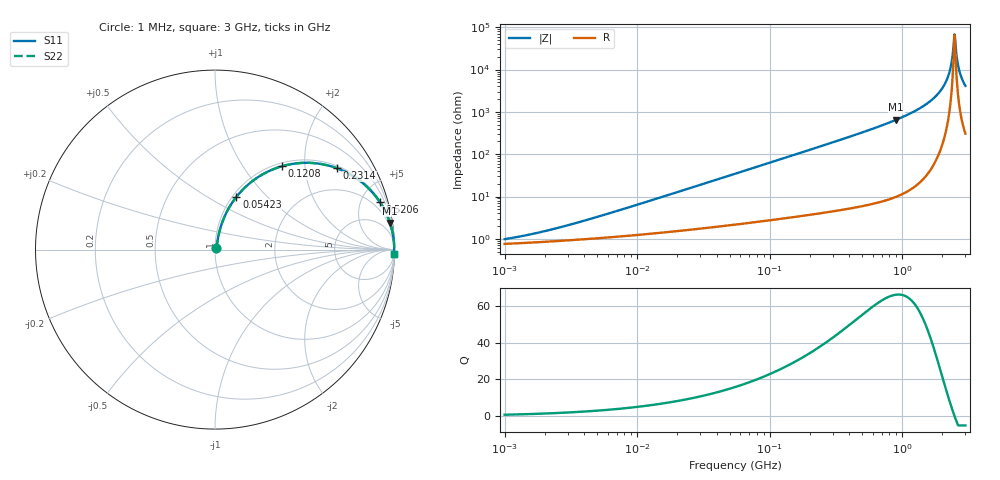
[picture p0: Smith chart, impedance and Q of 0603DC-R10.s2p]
# MHz S MA R 50
!Freq  MagS11  AngS11  MagS21  AngS21  MagS12  AngS12  MagS22  AngS22
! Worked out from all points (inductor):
!   801 points, 1 MHz to 3 GHz, reference 50 ohm
!   read as one part in series: L = 100 nH near 4.91 MHz
!   highest Q = 66.1 at 902.7 MHz (marker M1), where L = 115 nH
!   self-resonance near 2.481 GHz
!   S11 on the Smith chart (normalised r, x): 1 MHz: 1.02, +0.01; 54.23 MHz: 1.04, +0.68; 120.8 MHz: 1.06, +1.52; 231.4 MHz: 1.08, +2.93; 520.6 MHz: 1.12, +6.84; 3 GHz: 7, -82
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1  0.009786 39.2  0.9924 -0.4  0.9924 -0.4  0.009786 39.2
3.823119  0.02565 66.6  0.9901 -1.4  0.9901 -1.4  0.02565 66.6
14.47069  0.09035 76.3  0.9825 -5.1  0.9825 -5.1  0.09035 76.3
54.22683  0.3171 67.9  0.9285 -18.5  0.9285 -18.5  0.3171 67.9
54.77226  0.32 67.8  0.9275 -18.6  0.9275 -18.6  0.32 67.8
120.7609  0.5946 51.3  0.7812 -36.5  0.7812 -36.5  0.5946 51.3
209.4008  0.7876 36.4  0.5942 -51.9  0.5942 -51.9  0.7876 36.4
231.4421  0.8162 33.8  0.5562 -54.7  0.5562 -54.7  0.8162 33.8
520.5962  0.9553 16.2  0.2792 -72.8  0.2792 -72.8  0.9553 16.2
792.5923  0.9815 10.2  0.177 -78.9  0.177 -78.9  0.9815 10.2
902.72  0.9863 8.7  0.1509 -80.5  0.1509 -80.5  0.9863 8.7
1430.499  0.9959 4.2  0.0741 -84.7  0.0741 -84.7  0.9959 4.2
1912.199  0.9982 1.9  0.03393 -85.9  0.03393 -85.9  0.9982 1.9
2092.429  0.9985 1.3  0.02217 -85.4  0.02217 -85.4  0.9985 1.3
2221.924  0.9986 0.8  0.01444 -83.9  0.01444 -83.9  0.9986 0.8
2312.676  0.9986 0.5  0.009339 -81.0  0.009339 -81.0  0.9986 0.5
2407.135  0.9986 0.2  0.00435 -70.8  0.00435 -70.8  0.9986 0.2
2480.502  0.9985 0.0  0.001479 -10.7  0.001479 -10.7  0.9985 0.0
2556.106  0.9985 -0.2  0.003865 67.0  0.003865 67.0  0.9985 -0.2
2660.507  0.9984 -0.5  0.008824 79.3  0.008824 79.3  0.9984 -0.5
2741.597  0.9983 -0.7  0.01264 81.9  0.01264 81.9  0.9983 -0.7
3000  0.9979 -1.4  0.02422 84.3  0.02422 84.3  0.9979 -1.4
